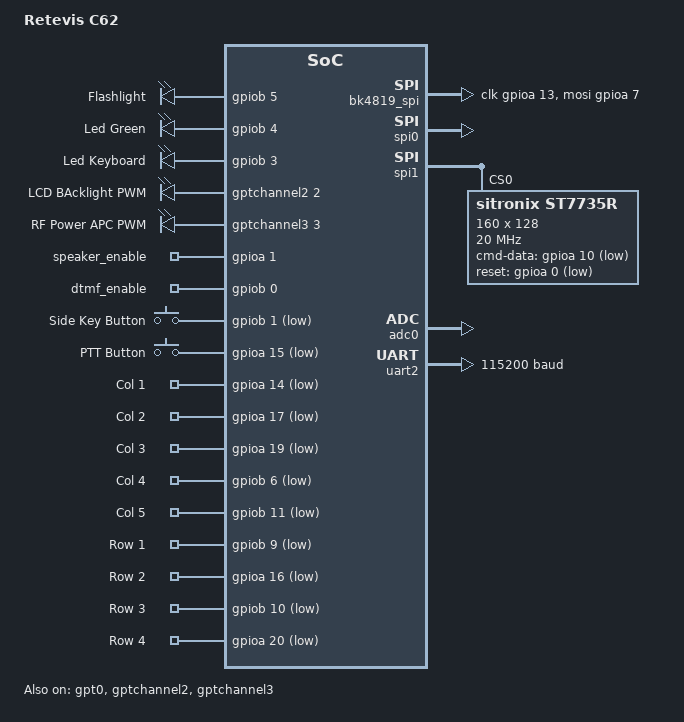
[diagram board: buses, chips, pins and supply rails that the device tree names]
/*
 * SPDX-FileCopyrightText: Copyright 2020-2026 OpenRTX Contributors
 *
 * SPDX-License-Identifier: GPL-3.0-or-later
 */

/dts-v1/;
#include <csk/csk6011b.dtsi>
#include <zephyr/dt-bindings/pwm/pwm.h>
#include <zephyr/dt-bindings/gpio/gpio.h>
#include <zephyr/dt-bindings/input/input-event-codes.h>
#include "c62_pinctrl.dtsi"

/ {
	model = "Retevis C62";
	compatible = "csk,c62";
	aliases {
		i2c-0 = &i2c0;
		flash = &flash0;
		
		ledwhite = &flashlight;
		ledgreen = &ledrx;
	};
	
	chosen {
		zephyr,display = &st7735r;
		zephyr,console = &uart2;
		zephyr,shell-uart = &uart2;
		zephyr,log-uart = &uart2;// For logging subsystem
		zephyr,sram = &sram0;
		zephyr,itcm = &itcm0;
		zephyr,dtcm = &dtcm0;
		zephyr,flash = &flash0;
		zephyr,flash_controller = &flash;
		zephyr,entropy = &trng;
		zephyr,code-partition = &slot0_partition;
		/* other chosen settings  for your hardware */

		lsf,dsp-firmware = &dsp_firmware;
	};

	lsf: service-controller {
		compatible = "lsf,service-controller";
		#address-cells = <1>;
		#size-cells = <0>;
		label = "LSF";

		lsf_audio: audio-service@0 {
			compatible = "lsf,audio-service";
			reg = <0>;
			status = "okay";
		};
	};
	
	leds {
		compatible = "gpio-leds";
		flashlight: led0 {
			gpios = <&gpiob 5 GPIO_ACTIVE_HIGH>;
			label = "Flashlight";
		};
		ledrx: led1 {
			gpios = <&gpiob 4 GPIO_ACTIVE_HIGH>;
			label = "Led Green";
		};
		ledkeyboard: led2 {
			gpios = <&gpiob 3 GPIO_ACTIVE_HIGH>;
			label = "Led Keyboard";
		};
	};

	pwmleds {
		compatible = "pwm-leds";
		pwm_lcd_backlight: pwm_lcd_backlight {
            pwms = <&gptchannel2 2 PWM_MSEC(20) PWM_POLARITY_NORMAL>;
			label = "LCD BAcklight PWM";
		};
		pwm_rf_apc: pwm_rf_apc {
            pwms = <&gptchannel3 3 PWM_MSEC(20) PWM_POLARITY_NORMAL>;
			label = "RF Power APC PWM";
		};

	};

	gpio_controls {
        compatible = "gpio-leds";
        speaker_enable: speaker-enable {
            gpios = <&gpioa 1 GPIO_ACTIVE_HIGH>;
        };
        dtmf_enable: dtmf_enable {
            gpios = <&gpiob 0 GPIO_ACTIVE_HIGH>;
        };
    };

	/*
	 * BK4819 3-wire serial bus (shared, bidirectional data line), driven
	 * through Zephyr's built-in SPI bitbang driver. Chip select is not
	 * listed here (no "cs-gpios" property) since it is toggled directly
	 * by the BK4819 driver itself, see platform/targets/c62/hwconfig.c.
	 */
	bk4819_spi: bk4819-spi {
		compatible = "zephyr,spi-bitbang";
		status = "okay";
		#address-cells = <1>;
		#size-cells = <0>;
		clk-gpios  = <&gpioa 13 GPIO_ACTIVE_HIGH>;
		mosi-gpios = <&gpioa 7 GPIO_ACTIVE_HIGH>;
	};
	
	buttons: buttons  {
		compatible = "gpio-keys";
		
		sidekey: button_1 {
			gpios = <&gpiob 1 (GPIO_PULL_UP | GPIO_ACTIVE_LOW)>;
			label = "Side Key Button";
		};
		button_ptt: button_2 {
			gpios = <&gpioa 15 (GPIO_PULL_UP | GPIO_ACTIVE_LOW)>;
			label = "PTT Button";
		};
		col1: col_1 {
			gpios = <&gpioa 14 (GPIO_PULL_UP | GPIO_ACTIVE_LOW)>;
			label = "Col 1";
		};
		col2: col_2 {
			gpios = <&gpioa 17 (GPIO_PULL_UP | GPIO_ACTIVE_LOW)>;
			label = "Col 2";
		};
		col3: col_3 {
			gpios = <&gpioa 19 (GPIO_PULL_UP | GPIO_ACTIVE_LOW)>;
			label = "Col 3";
		};
		col4: col_4 {
			gpios = <&gpiob 6 (GPIO_PULL_UP | GPIO_ACTIVE_LOW)>;
			label = "Col 4";
		};
		col5: col_5 {
			gpios = <&gpiob 11 (GPIO_PULL_UP | GPIO_ACTIVE_LOW)>;
			label = "Col 5";
		};
		row1: row_1 {
			gpios = <&gpiob 9 (GPIO_PULL_UP | GPIO_ACTIVE_LOW)>;
			label = "Row 1";
		};
		row2: row_2 {
			gpios = <&gpioa 16 (GPIO_PULL_UP | GPIO_ACTIVE_LOW)>;
			label = "Row 2";
		};
		row3: row_3 {
			gpios = <&gpiob 10 (GPIO_PULL_UP | GPIO_ACTIVE_LOW)>;
			label = "Row 3";
		};
		row4: row_4 {
			gpios = <&gpioa 20 (GPIO_PULL_UP | GPIO_ACTIVE_LOW)>;
			label = "Row 4";
		};
	};
};

/* Reserve SRAM bank 4 (0xc0000..0xcffff, data alias 0x200c0000)
 * for DSP shared audio; exclude it from application data and the heap.
 */
&sram0 {
	reg = <0x80000 DT_SIZE_K(256)>;
};

&gpioa {
	status = "okay";
	reg = <0x45900000 0x1000>;
};

&gpiob {
	status = "okay";
	reg = <0x45a00000 0x1000>;
};

&spi0 {
	status = "okay";
};

&spi1 {
	pinctrl-0 = <&pinctrl_spi1_sclk_default &pinctrl_spi1_mosi_default
	&pinctrl_spi1_miso_default &pinctrl_spi1_cs_default>;
	pinctrl-names = "default";
	status = "okay";
	
	st7735r: st7735r@0 {
		compatible = "sitronix,st7735r";
		spi-max-frequency = <20000000>;
		reg = <0>;
		cmd-data-gpios = <&gpioa 10 GPIO_ACTIVE_LOW>;  /* or dc-gpios */
		reset-gpios = <&gpioa 0 GPIO_ACTIVE_LOW>; /* TODO: default driver requires this element, but it will kill SWD! */
		width = <160>;
		height = <128>;
		x-offset = <0>;
		y-offset = <0>;
		madctl = <0xA0>;
		colmod = <0x05>;
		caset = [00 00 00 4F];
		raset = [00 00 00 9F];
		vmctr1 = <0x0e>;
		invctr = <0x07>;
		pwctr1 = [a2 02 84];
		pwctr2 = [c5];
		pwctr3 = [0a 00];
		pwctr4 = [8a 2a];
		pwctr5 = [8a ee];
		frmctr1 = [01 2c 2d];
		frmctr2 = [01 2c 2d];
		frmctr3 = [01 2c 2d 01 2c 2d];
		gamctrp1 = [02 1c 07 12 37 32 29 2d 29 25 2b 39 00 01 03 10];
		gamctrn1 = [03 1d 07 06 2e 2c 29 2d 2e 2e 37 3f 00 00 02 10];
	};	
};


&i2c0 {
	status = "disabled";
};

&i2c1 {
	status = "disabled";
};

&mailbox0 {
	status = "disabled";
};

&dma0 {
	dma-channels = <6>;
	status = "disabled";
};

&rtc1 {
	status = "disabled";
};

&flash0 {
	/*
	* For more information, see:
	* http://docs.zephyrproject.org/latest/guides/dts/index.html#flash-partitions
	*/
	reg = <0x18000000 DT_SIZE_M(4)>;
	write-block-size = <4>;
	erase-block-size = <4096>;
	partitions {
		compatible = "fixed-partitions";
		#address-cells = <1>;
		#size-cells = <1>;
		
		/* Application image, linked and written at flash offset 0
		 * (no bootloader): 1 MiB, enforced by CONFIG_FLASH_LOAD_SIZE.
		 */
		slot0_partition: partition@0 {
			reg = <0x0 DT_SIZE_M(1)>;
		};

		/* DSP image, copied to PSRAM at boot */
		dsp_firmware: partition@100000 {
			label = "dsp_firmware";
			reg = <0x100000 DT_SIZE_M(1)>;
			read-only;
		};

		/* Factory resources left by the OEM firmware */
		factory_res0: partition@200000 {
			reg = <0x200000 0xb0000>;
			read-only;
		};

		/* OpenRTX storage: erased in every factory dump examined */
		storage_partition: partition@2b0000 {
			reg = <0x2b0000 0xa0000>;
		};

		/* Factory resources left by the OEM firmware */
		factory_res1: partition@350000 {
			reg = <0x350000 0x60000>;
			read-only;
		};

		/* OEM settings and calibration journal, unique to each radio.
		 * The OEM firmware rewrites it with defaults if it finds no
		 * valid entry, so it must never be written.
		 */
		factory_cal: partition@3b0000 {
			reg = <0x3b0000 0x10000>;
			read-only;
		};

		/* OEM channel store */
		factory_chan: partition@3c0000 {
			reg = <0x3c0000 0x40000>;
			read-only;
		};
	};
};

&psram0 {
	reg = <0x30000000 DT_SIZE_M(4)>;
	#address-cells = <1>;
	#size-cells = <1>;
	
	/*psram for cp core (DSP) slot: 2MB */
	psram_cp: psram_cp@30000000 {
		compatible = "listenai,csk6-psram-partition";
		reg = <0x30000000 0x200000>;
		status = "okay";
	};
	
	/* Leave the top 256 KiB clear for the DSP stack at CP 0x60400000. */
	psram_ap: psram_ap@30200000 {
		compatible = "zephyr,memory-region",
		"listenai,csk6-psram-partition";
		reg = <0x30200000 0x1c0000>;
		status = "okay";
		zephyr,memory-region = "PSRAMAP";
	};

};

zephyr_udc0: &usbotg {
	status = "disabled";
	num-bidir-endpoints = <6>;
	num-in-endpoints = <6>;
	num-out-endpoints = <6>;
};


&adc0 {
	status = "okay";
	pinctrl-0 = <&pinctrl_adc0_ch1_default &pinctrl_adc0_ch2_default>; 
	pinctrl-names = "default";
};

&gpt0 {
        status = "okay";
};

&gptchannel2 {
        compatible = "listenai,csk-pwm";

        status = "okay";
        channel_mode = <1>;  /* 0: timer; 1:pwm */

        clock-prescaler = <128>;
        pinctrl-0 = <&pinctrl_pwm2_default>;
        pinctrl-names = "default";
};

&gptchannel3 {
        compatible = "listenai,csk-pwm";

        status = "okay";
        channel_mode = <1>;  /* 0: timer; 1:pwm */

        clock-prescaler = <1>;  /* 1000 counts per 100 kHz APC period */
        pinctrl-0 = <&pinctrl_pwm3_default>;
        pinctrl-names = "default";
};

&crypto {
	status = "disabled";
};

&sdmmc {
	status = "disabled";
};

&ap_wdt {
	status = "disabled";
};

&uart0 {
	status = "disabled";
	
};

&uart1 {
	status = "disabled";
};

&uart2 {
	pinctrl-0 = <&pinctrl_uart2_rx_default &pinctrl_uart2_tx_default>;
	pinctrl-names = "default";
	current-speed = <115200>;
	status = "okay";
};

